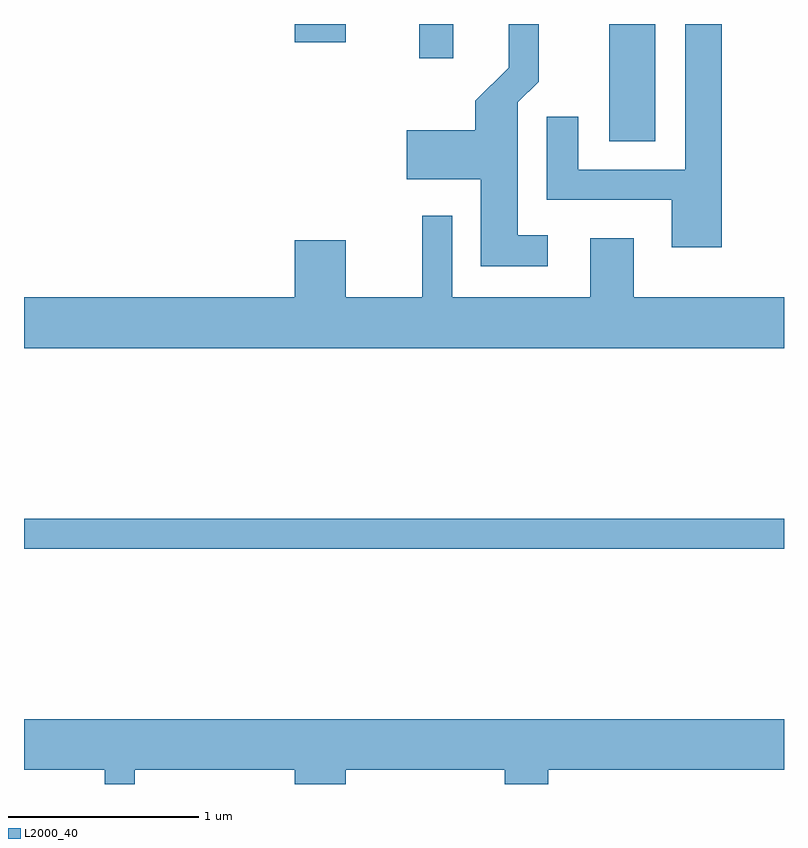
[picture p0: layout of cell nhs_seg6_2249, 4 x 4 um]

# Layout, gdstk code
import gdstk
lib = gdstk.Library(unit=1e-6, precision=1e-09)
def R(c, l, rs):  # rectangles x0, y0, x1, y1
    for r in rs: c.add(gdstk.rectangle(r[:2], r[2:], *l))
def P(c, l, *ps):  # polygons
    for p in ps: c.add(gdstk.Polygon(p, *l))
L2000_40 = (2000, 40)

nhs_seg6_2249 = lib.new_cell('nhs_seg6_2249')
R(nhs_seg6_2249, L2000_40, [(253.611,1573.401,257.611,1573.559), (256.691,1575.546,256.934,1576.162), (255.691,1575.981,255.869,1576.162), (255.036,1576.066,255.304,1576.162)])
P(nhs_seg6_2249, L2000_40, [(257.284,1576.162),(257.091,1576.162),(257.091,1575.394),(256.529,1575.394),(256.529,1575.673),(256.361,1575.673),(256.361,1575.236),(257.021,1575.236),(257.021,1574.986),(257.284,1574.986)],
  [(256.368,1575.049),(256.209,1575.049),(256.209,1575.749),(256.319,1575.859),(256.319,1576.162),(256.161,1576.162),(256.161,1575.932),(255.986,1575.757),(255.986,1575.604),(255.626,1575.604),(255.626,1575.346),(256.016,1575.346),(256.016,1574.886),(256.368,1574.886)],
  [(257.611,1574.724),(256.819,1574.724),(256.819,1575.034),(256.591,1575.034),(256.591,1574.724),(255.864,1574.724),(255.864,1575.153),(255.706,1575.153),(255.706,1574.724),(255.304,1574.724),(255.304,1575.024),(255.036,1575.024),(255.036,1574.724),(253.611,1574.724),(253.611,1574.456),(257.611,1574.456)],
  [(254.194,1572.236),(255.036,1572.236),(255.036,1572.162),(255.304,1572.162),(255.304,1572.236),(256.141,1572.236),(256.141,1572.162),(256.369,1572.162),(256.369,1572.236),(257.611,1572.236),(257.611,1572.504),(253.611,1572.504),(253.611,1572.236),(254.036,1572.236),(254.036,1572.162),(254.194,1572.162)])

lib.write_gds('nhs_seg6_2249.gds')
